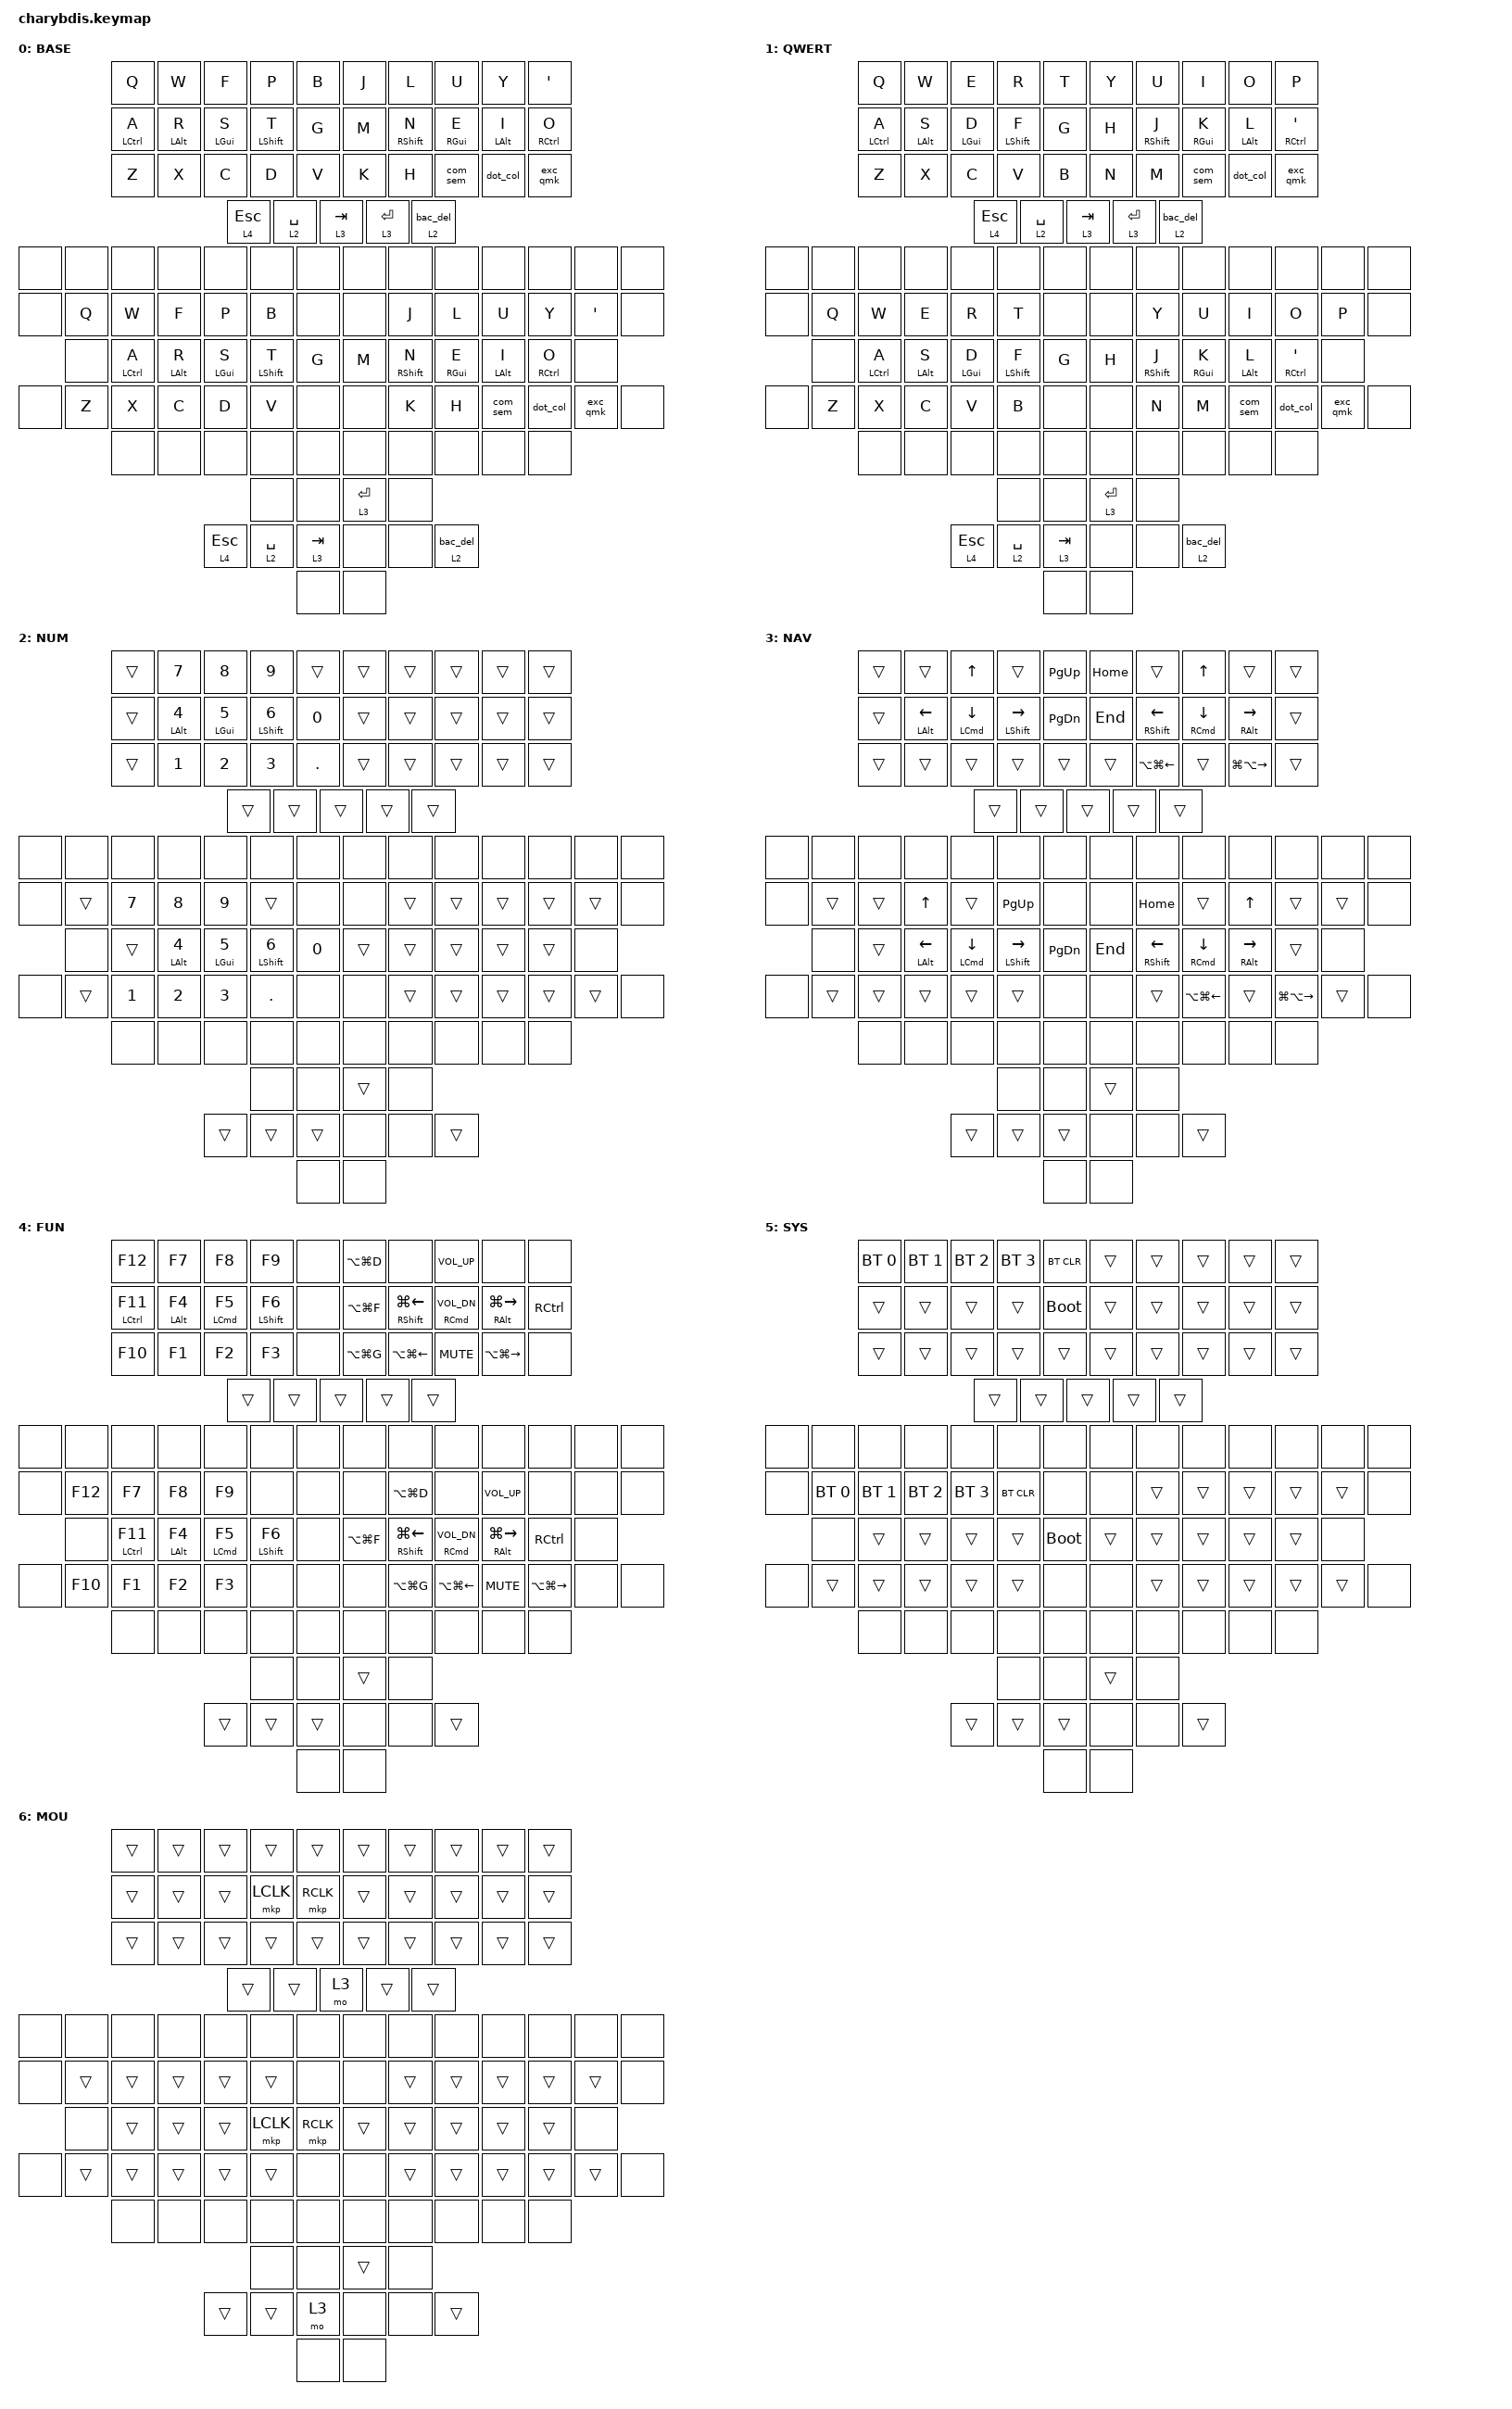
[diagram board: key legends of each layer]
/*                KEY POSITIONS
  Charybdis (positions 0-34):
  ╭─────────────────────╮ ╭─────────────────────╮
  │ LT4 LT3 LT2 LT1 LT0 │ │ RT0 RT1 RT2 RT3 RT4 │
  │ LM4 LM3 LM2 LM1 LM0 │ │ RM0 RM1 RM2 RM3 RM4 │
  │ LB4 LB3 LB2 LB1 LB0 │ │ RB0 RB1 RB2 RB3 RB4 │
  ╰───────╮ LH2 LH1 LH0 │ │ RH0 RH1 ╭───────────╯
          ╰─────────────╯ ╰─────────╯

  Ergodox (positions 35-110): 76 keys, 38 per side
  ╭───────────────────────────╮ ╭───────────────────────────╮
  │ 35  36  37  38  39  40  41  │ │ 42  43  44  45  46  47  48  │  Row 0: number (7+7)
  │ 49  50  51  52  53  54  55  │ │ 56  57  58  59  60  61  62  │  Row 1: top alpha (7+7)
  │ 63  64  65  66  67  68      │ │     69  70  71  72  73  74  │  Row 2: home (6+6)
  │ 75  76  77  78  79  80  81  │ │ 82  83  84  85  86  87  88  │  Row 3: bottom alpha (7+7)
  │ 89  90  91  92  93          │ │         94  95  96  97  98  │  Row 4: bottom mods (5+5)
  │                     99 100  │ │ 101 102                     │  Thumb top (2+2)
  │                 103 104 105 │ │ 106 107 108                 │  Thumb mid (3+3)
  │                         109 │ │ 110                         │  Thumb bot (1+1)
  ╰─────────────────────────────╯ ╰─────────────────────────────╯
*/
#include <behaviors.dtsi>

#include <dt-bindings/zmk/keys.h>
#include <dt-bindings/zmk/bt.h>
#include <dt-bindings/zmk/mouse.h>
#include <dt-bindings/zmk/outputs.h>
#include <input/processors.dtsi>
#include <dt-bindings/zmk/input_transform.h>

#include "zmk-helpers/helper.h"
#include "zmk-helpers/key-labels/36.h"

// constants

#define REQUIRE_PRIOR_IDLE_MS 150
#define QUICK_TAP_MS 175

#define BASE  0
#define QWERT 1
#define NUM   2
#define NAV   3
#define FUN   4
#define SYS   5
#define MOU   6



/ {
    trackball_listener {
        compatible = "zmk,input-listener";
        device = <&trackball_split>;

        scroll {
            layers = <NAV>;
            input-processors = <&zip_xy_scaler 1 20>, <&zip_xy_to_scroll_mapper>, <&zip_scroll_transform (INPUT_TRANSFORM_Y_INVERT)>;
        };
    };

    behaviors {
        hml: hml {
            compatible = "zmk,behavior-hold-tap";
            label = "HML";
            bindings = <&kp>, <&kp>;

            #binding-cells = <2>;
            tapping-term-ms = <200>;
            quick-tap-ms = <175>;
            flavor = "balanced";
            hold-trigger-on-release;
            hold-trigger-key-positions = <6 7 8 9 18 19 5 15 16 25 27 26 28 29 17 35>;
            require-prior-idle-ms = <300>;
        };

        hmr: hmr {
            compatible = "zmk,behavior-hold-tap";
            label = "HMR";
            bindings = <&kp>, <&kp>;

            #binding-cells = <2>;
            tapping-term-ms = <200>;
            quick-tap-ms = <175>;
            flavor = "balanced";
            hold-trigger-on-release;
            hold-trigger-key-positions = <13 14 2 0 1 3 4 12 11 10 20 21 22 23 24>;
            require-prior-idle-ms = <300>;
        };

        copy_cut: copy_cut {
            compatible = "zmk,behavior-tap-dance";
            label = "COPY_CUT";
            #binding-cells = <0>;
            bindings = <&kp LC(C)>, <&kp LC(X)>;
        };

        lshift_cap: lshift_cap {
            compatible = "zmk,behavior-tap-dance";
            label = "LSHIFT_CAP";
            #binding-cells = <0>;
            bindings = <&kp LSHIFT>, <&caps_word>;
        };

        com_sem: com_sem {
            compatible = "zmk,behavior-mod-morph";
            label = "COM_SEM";
            bindings = <&kp COMMA>, <&kp SEMICOLON>;

            #binding-cells = <0>;
            mods = <(MOD_LSFT|MOD_RSFT)>;
        };

        dot_col: dot_col {
            compatible = "zmk,behavior-mod-morph";
            label = "DOT_COL";
            bindings = <&kp PERIOD>, <&kp COLON>;

            #binding-cells = <0>;
            mods = <(MOD_LSFT|MOD_RSFT)>;
        };

        exc_qmk: exc_qmk {
            compatible = "zmk,behavior-mod-morph";
            label = "EXC_QMK";
            bindings = <&kp EXCL>, <&kp QMARK>;

            #binding-cells = <0>;
            mods = <(MOD_LSFT|MOD_RSFT)>;
        };

        bac_del: bac_del {
            compatible = "zmk,behavior-mod-morph";
            label = "BAC_DEL";
            bindings = <&kp BACKSPACE>, <&kp DEL>;

            #binding-cells = <0>;
            mods = <(MOD_LSFT|MOD_RSFT)>;
            keep-mods = <(MOD_RSFT)>;
        };

        rshift_cap: rshift_cap {
            compatible = "zmk,behavior-tap-dance";
            label = "RSHIFT_CAP";
            #binding-cells = <0>;
            bindings = <&kp RIGHT_SHIFT>, <&caps_word>;
        };

        ltm: ltm {
            compatible = "zmk,behavior-hold-tap";
            label = "LTM";
            bindings = <&mo>, <&kp>;

            #binding-cells = <2>;
            tapping-term-ms = <200>;
            quick-tap-ms = <175>;
            flavor = "balanced";
            hold-trigger-on-release;
            require-prior-idle-ms = <0>;
        };

        hmsl: hmsl {
            compatible = "zmk,behavior-hold-tap";
            label = "HMSL";
            bindings = <&kp>, <&kp>;

            #binding-cells = <2>;
            tapping-term-ms = <200>;
            quick-tap-ms = <175>;
            flavor = "balanced";
            hold-trigger-on-release;
            hold-trigger-key-positions = <6 7 8 9 18 19 33 34 5 15 25 16 17 35 26 27 28 29>;
            require-prior-idle-ms = <100>;
        };

        hmsr: hmsr {
            compatible = "zmk,behavior-hold-tap";
            label = "HMSR";
            bindings = <&kp>, <&kp>;

            #binding-cells = <2>;
            tapping-term-ms = <200>;
            quick-tap-ms = <175>;
            flavor = "balanced";
            hold-trigger-on-release;
            hold-trigger-key-positions = <28 32 31 30 24 23 22 20 21 10 0 1 12 2 11 13 3 4 14>;
            require-prior-idle-ms = <100>;
        };

        lpar_less: lpar_less {
            compatible = "zmk,behavior-mod-morph";
            label = "LPAR_LESS";
            bindings = <&kp LEFT_PARENTHESIS>, <&kp LESS_THAN>;

            #binding-cells = <0>;
            mods = <(MOD_LSFT|MOD_RSFT)>;
        };

        rpar_greater: rpar_greater {
            compatible = "zmk,behavior-mod-morph";
            label = "RPAR_GREATER";
            bindings = <&kp RIGHT_PARENTHESIS>, <&kp GREATER_THAN>;

            #binding-cells = <0>;
            mods = <(MOD_LSFT|MOD_RSFT)>;
        };

        slash_bslash: slash_bslash {
            compatible = "zmk,behavior-mod-morph";
            label = "SLASH_BSLASH";
            bindings = <&kp SLASH>, <&kp BACKSLASH>;

            #binding-cells = <0>;
            mods = <(MOD_LSFT|MOD_RSFT)>;
        };

        ltm2: ltm2 {
            compatible = "zmk,behavior-hold-tap";
            label = "LTM2";
            bindings = <&mo>, <&bac_del>;

            #binding-cells = <2>;
            tapping-term-ms = <280>;
            quick-tap-ms = <175>;
            flavor = "balanced";
            hold-trigger-on-release;
            require-prior-idle-ms = <150>;
        };

        tsr: tsr {
            compatible = "zmk,behavior-hold-tap";
            label = "TSR";
            bindings = <&kp>, <&kp>;

            #binding-cells = <2>;
            tapping-term-ms = <200>;
            quick-tap-ms = <175>;
            flavor = "hold-preferred";
            hold-trigger-on-release;
            require-prior-idle-ms = <0>;
        };
    };

    combos {
        compatible = "zmk,combos";

        ESC_COMBO {
            bindings = <&gresc>;
            key-positions = <1 0>;
        };

        FIND_COMBOS {
            bindings = <&kp LC(F)>;
            key-positions = <20 2>;
        };

        SAVE_COMBOS {
            bindings = <&kp LC(S)>;
            key-positions = <20 12>;
        };

        win_copy {
            bindings = <&copy_cut>;
            key-positions = <20 22>;
        };

        SELECT_ALL_COMBOS {
            bindings = <&kp LC(A)>;
            key-positions = <20 10>;
        };

        PASTE_COMBOS {
            bindings = <&kp LC(V)>;
            key-positions = <20 24>;
        };

        wm_12 {
            bindings = <&kp LA(LG(E))>;
            key-positions = <5 15>;
            layers = <4>;
        };

        wm_23 {
            bindings = <&kp LA(LG(T))>;
            key-positions = <15 25>;
            layers = <4>;
        };

        left_par {
            bindings = <&lpar_less>;
            key-positions = <16 17>;
            require-prior-idle-ms = <150>;
        };

        r_par {
            bindings = <&rpar_greater>;
            key-positions = <17 18>;
            require-prior-idle-ms = <150>;
        };

        l_br {
            bindings = <&kp LEFT_BRACKET>;
            key-positions = <6 7>;
            require-prior-idle-ms = <150>;
        };

        r_br {
            bindings = <&kp RIGHT_BRACKET>;
            key-positions = <7 8>;
            require-prior-idle-ms = <150>;
        };

        plus {
            bindings = <&kp KP_PLUS>;
            key-positions = <6 16>;
            require-prior-idle-ms = <150>;
        };

        minus {
            bindings = <&kp MINUS>;
            key-positions = <16 26>;
            require-prior-idle-ms = <150>;
        };

        star {
            bindings = <&kp STAR>;
            key-positions = <7 17>;
            require-prior-idle-ms = <150>;
        };

        spl {
            bindings = <&slash_bslash>;
            key-positions = <17 27>;
        };

        and {
            bindings = <&kp AMPERSAND>;
            key-positions = <5 15>;
            require-prior-idle-ms = <150>;
        };

        or {
            bindings = <&kp PIPE>;
            key-positions = <15 25>;
        };

        equ {
            bindings = <&kp EQUAL>;
            key-positions = <8 18>;
            layers = <0 2>;
        };

        under_sc {
            bindings = <&kp UNDER>;
            key-positions = <28 18>;
        };

        grave_combos {
            bindings = <&kp GRAVE>;
            key-positions = <13 23>;
            require-prior-idle-ms = <150>;
        };

        at_combos {
            bindings = <&kp AT_SIGN>;
            key-positions = <1 11>;
            require-prior-idle-ms = <150>;
        };

        hash_combos {
            bindings = <&kp HASH>;
            key-positions = <2 12>;
            require-prior-idle-ms = <150>;
        };

        dollor_combos {
            bindings = <&kp DOLLAR>;
            key-positions = <3 13>;
            require-prior-idle-ms = <150>;
        };

        percent_combos {
            bindings = <&kp PERCENT>;
            key-positions = <11 21>;
            require-prior-idle-ms = <150>;
        };

        hat_combos {
            bindings = <&kp CARET>;
            key-positions = <12 22>;
            require-prior-idle-ms = <150>;
        };

        screenshot {
            bindings = <&kp LG(LC(LS(N4)))>;
            key-positions = <11 12 13 31>;
        };

        undo_com {
            bindings = <&kp LC(Z)>;
            key-positions = <20 21>;
        };

        cap {
            bindings = <&caps_word>;
            key-positions = <20 29>;
        };

        paste2 {
            bindings = <&kp LC(V)>;
            key-positions = <20 23>;
        };

        newtab {
            bindings = <&kp LC(T)>;
            key-positions = <13 20>;
            require-prior-idle-ms = <300>;
        };

        swith_position {
            bindings = <&tog 1>;
            key-positions = <24 25>;
        };

        find3 {
            bindings = <&kp LC(F)>;
            key-positions = <2 10>;
            require-prior-idle-ms = <300>;
        };

        save2 {
            bindings = <&kp LC(S)>;
            key-positions = <10 12>;
            require-prior-idle-ms = <300>;
        };

        func_spa1 {
            bindings = <&kp LC(SPACE)>;
            key-positions = <19 31>;
        };

        func_spa2 {
            bindings = <&kp LC(SPACE)>;
            key-positions = <31 10>;
        };

        enter_comb {
            bindings = <&kp ENTER>;
            key-positions = <29 28>;
        };

        tab_combo {
            bindings = <&mo 5>;
            key-positions = <30 31>;
        };

        mrclk {
            bindings = <&mkp RCLK>;
            key-positions = <21 22>;
        };

        mlclk {
            bindings = <&mkp LCLK>;
            key-positions = <22 23>;
        };

        rmlck {
            bindings = <&mkp LCLK>;
            key-positions = <26 27>;
        };

        rmrck {
            bindings = <&mkp RCLK>;
            key-positions = <27 28>;
        };
    };

    keymap {
                compatible = "zmk,keymap";

            BASE {
                label = "ColemakDH";
                display-name = "BASE";
                bindings = <
                    &kp Q         &kp W        &kp F          &kp P               &kp B         &kp J         &kp L                &kp U        &kp Y        &kp SQT
                    &hml LCTRL A  &hml LALT R  &hml LGUI S    &hmsl LEFT_SHIFT T  &kp G         &kp M         &hmsr RIGHT_SHIFT N  &hmr RGUI E  &hmr LALT I  &hmr RCTRL O
                    &kp Z         &kp X        &kp C          &kp D               &kp V         &kp K         &kp H                &com_sem     &dot_col     &exc_qmk
                                                    &ltm 4 ESCAPE  &ltm 2 SPACE        &ltm 3 TAB    &ltm 3 ENTER  &ltm2 2 0
                    /* Ergodox: Row0(14) Row1(14) Row2(12) Row3(14) Row4(10) Thumb(12) = 76 keys */
                    &none &none &none &none &none &none &none  &none &none &none &none &none &none &none
                    &none &kp Q &kp W &kp F &kp P &kp B &none  &none &kp J &kp L &kp U &kp Y &kp SQT &none
                    &none &hml LCTRL A &hml LALT R &hml LGUI S &hmsl LEFT_SHIFT T &kp G  &kp M &hmsr RIGHT_SHIFT N &hmr RGUI E &hmr LALT I &hmr RCTRL O &none
                    &none &kp Z &kp X &kp C &kp D &kp V &none  &none &kp K &kp H &com_sem &dot_col &exc_qmk &none
                    &none &none &none &none &none              &none &none &none &none &none
                    &none &none  &ltm 3 ENTER &none
                    &ltm 4 ESCAPE &ltm 2 SPACE &ltm 3 TAB  &none &none &ltm2 2 0
                    &none  &none
                >;
            };

            QWERT {
                label = "QWERT";
                display-name = "QWERT";
                bindings = <
                    &kp Q         &kp W        &kp E          &kp R              &kp T         &kp Y         &kp U               &kp I        &kp O        &kp P
                    &hml LCTRL A  &hml LALT S  &hml LGUI D    &hml LEFT_SHIFT F  &kp G         &kp H         &hmr RIGHT_SHIFT J  &hmr RGUI K  &hmr LALT L  &hmr RCTRL SQT
                    &kp Z         &kp X        &kp C          &kp V              &kp B         &kp N         &kp M               &com_sem     &dot_col     &exc_qmk
                                                    &ltm 4 ESCAPE  &ltm 2 SPACE       &ltm 3 TAB    &ltm 3 ENTER  &ltm2 2 0
                    /* Ergodox */
                    &none &none &none &none &none &none &none  &none &none &none &none &none &none &none
                    &none &kp Q &kp W &kp E &kp R &kp T &none  &none &kp Y &kp U &kp I &kp O &kp P &none
                    &none &hml LCTRL A &hml LALT S &hml LGUI D &hml LEFT_SHIFT F &kp G  &kp H &hmr RIGHT_SHIFT J &hmr RGUI K &hmr LALT L &hmr RCTRL SQT &none
                    &none &kp Z &kp X &kp C &kp V &kp B &none  &none &kp N &kp M &com_sem &dot_col &exc_qmk &none
                    &none &none &none &none &none              &none &none &none &none &none
                    &none &none  &ltm 3 ENTER &none
                    &ltm 4 ESCAPE &ltm 2 SPACE &ltm 3 TAB  &none &none &ltm2 2 0
                    &none  &none
                >;
            };

            NUM {
                label = "NUM";
                display-name = "NUM";
                bindings = <
                    &trans  &kp N7              &kp N8        &kp N9         &trans      &trans  &trans  &trans  &trans  &trans
                    &trans  &hml LALT NUMBER_4  &hml LGUI N5  &hml LSHFT N6  &kp N0      &trans  &trans  &trans  &trans  &trans
                    &trans  &kp N1              &kp N2        &kp N3         &kp PERIOD  &trans  &trans  &trans  &trans  &trans 
                                                &trans        &trans        &trans         &trans      &trans
                    /* Ergodox */
                    &none &none &none &none &none &none &none  &none &none &none &none &none &none &none
                    &none &trans &kp N7 &kp N8 &kp N9 &trans &none  &none &trans &trans &trans &trans &trans &none
                    &none &trans &hml LALT NUMBER_4 &hml LGUI N5 &hml LSHFT N6 &kp N0  &trans &trans &trans &trans &trans &none
                    &none &trans &kp N1 &kp N2 &kp N3 &kp PERIOD &none  &none &trans &trans &trans &trans &trans &none
                    &none &none &none &none &none              &none &none &none &none &none
                    &none &none  &trans &none
                    &trans &trans &trans  &none &none &trans
                    &none  &none
                >;
            };

            NAV {
                label = "NAV";
                display-name = "NAV";
                bindings = <
                    &trans  &trans          &kp UP_ARROW    &trans            &kp PG_UP  &kp HOME  &trans            &kp UP_ARROW          &trans             &trans
                    &trans  &hml LALT LEFT  &hml LCMD DOWN  &hml LSHFT RIGHT  &kp PG_DN  &kp END   &hmr RSHFT LEFT   &hmr RCMD DOWN_ARROW  &hmr RALT RIGHT    &trans
                    &trans  &trans          &trans          &trans            &trans     &trans    &kp LA(LG(LEFT))  &trans                &kp LG(LA(RIGHT))  &trans
                                            &trans          &trans            &trans     &trans    &trans
                    /* Ergodox */
                    &none &none &none &none &none &none &none  &none &none &none &none &none &none &none
                    &none &trans &trans &kp UP_ARROW &trans &kp PG_UP &none  &none &kp HOME &trans &kp UP_ARROW &trans &trans &none
                    &none &trans &hml LALT LEFT &hml LCMD DOWN &hml LSHFT RIGHT &kp PG_DN  &kp END &hmr RSHFT LEFT &hmr RCMD DOWN_ARROW &hmr RALT RIGHT &trans &none
                    &none &trans &trans &trans &trans &trans &none  &none &trans &kp LA(LG(LEFT)) &trans &kp LG(LA(RIGHT)) &trans &none
                    &none &none &none &none &none              &none &none &none &none &none
                    &none &none  &trans &none
                    &trans &trans &trans  &none &none &trans
                    &none  &none
                >;
            };

            FUN {
                label = "FUN";
                display-name = "FUN";
                bindings = <
                    &kp F12                &kp F7        &kp F8        &kp F9         &none  &kp LA(LG(D))  &none                   &kp C_VOLUME_UP     &none                &none
                    &hml LEFT_CONTROL F11  &hml LALT F4  &hml LCMD F5  &hml LSHFT F6  &none  &kp LA(LG(F))  &hmr RSHFT LG(LEFT)     &hmr RCMD C_VOL_DN  &hmr RALT LG(RIGHT)  &kp RCTRL
                    &kp F10                &kp F1        &kp F2        &kp F3         &none  &kp LA(LG(G))  &kp LA(LG(LEFT_ARROW))  &kp C_MUTE          &kp LA(LG(RIGHT))    &none
                                                               &trans    &trans         &trans  &trans         &trans
                    /* Ergodox */
                    &none &none &none &none &none &none &none  &none &none &none &none &none &none &none
                    &none &kp F12 &kp F7 &kp F8 &kp F9 &none &none  &none &kp LA(LG(D)) &none &kp C_VOLUME_UP &none &none &none
                    &none &hml LEFT_CONTROL F11 &hml LALT F4 &hml LCMD F5 &hml LSHFT F6 &none  &kp LA(LG(F)) &hmr RSHFT LG(LEFT) &hmr RCMD C_VOL_DN &hmr RALT LG(RIGHT) &kp RCTRL &none
                    &none &kp F10 &kp F1 &kp F2 &kp F3 &none &none  &none &kp LA(LG(G)) &kp LA(LG(LEFT_ARROW)) &kp C_MUTE &kp LA(LG(RIGHT)) &none &none
                    &none &none &none &none &none              &none &none &none &none &none
                    &none &none  &trans &none
                    &trans &trans &trans  &none &none &trans
                    &none  &none
                >;
            };

            SYS {
                label = "SYS";
                display-name = "SYS";
                bindings = <
                    &bt BT_SEL 0  &bt BT_SEL 1  &bt BT_SEL 2  &bt BT_SEL 3  &bt BT_CLR   &trans  &trans  &trans  &trans  &trans
                    &trans        &trans        &trans        &trans        &bootloader  &trans  &trans  &trans  &trans  &trans
                    &trans        &trans        &trans        &trans        &trans       &trans  &trans  &trans  &trans  &trans
                                        &trans  &trans        &trans        &trans       &trans
                    /* Ergodox */
                    &none &none &none &none &none &none &none  &none &none &none &none &none &none &none
                    &none &bt BT_SEL 0 &bt BT_SEL 1 &bt BT_SEL 2 &bt BT_SEL 3 &bt BT_CLR &none  &none &trans &trans &trans &trans &trans &none
                    &none &trans &trans &trans &trans &bootloader  &trans &trans &trans &trans &trans &none
                    &none &trans &trans &trans &trans &trans &none  &none &trans &trans &trans &trans &trans &none
                    &none &none &none &none &none              &none &none &none &none &none
                    &none &none  &trans &none
                    &trans &trans &trans  &none &none &trans
                    &none  &none
                >;
            };

            MOU {
                label = "MOU";
                display-name = "MOU";
                bindings = <
                    &trans  &trans  &trans  &trans     &trans    &trans  &trans  &trans  &trans  &trans
                    &trans  &trans  &trans  &mkp LCLK  &mkp RCLK  &trans  &trans  &trans  &trans  &trans
                    &trans  &trans  &trans  &trans     &trans    &trans  &trans  &trans  &trans  &trans
                            &trans  &trans  &mo 3      &trans    &trans
                    /* Ergodox */
                    &none &none &none &none &none &none &none  &none &none &none &none &none &none &none
                    &none &trans &trans &trans &trans &trans &none  &none &trans &trans &trans &trans &trans &none
                    &none &trans &trans &trans &mkp LCLK &mkp RCLK  &trans &trans &trans &trans &trans &none
                    &none &trans &trans &trans &trans &trans &none  &none &trans &trans &trans &trans &trans &none
                    &none &none &none &none &none              &none &none &none &none &none
                    &none &none  &trans &none
                    &trans &trans &mo 3  &none &none &trans
                    &none  &none
                >;
            };
            
    };
};
